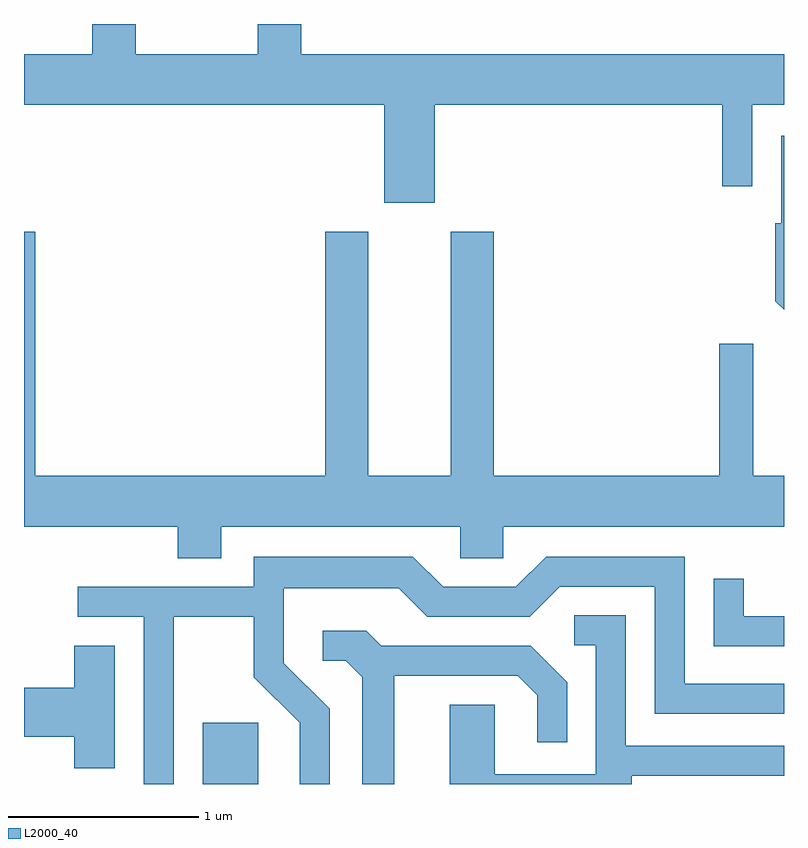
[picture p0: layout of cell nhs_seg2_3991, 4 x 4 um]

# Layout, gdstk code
import gdstk
lib = gdstk.Library(unit=1e-6, precision=1e-09)
def R(c, l, rs):  # rectangles x0, y0, x1, y1
    for r in rs: c.add(gdstk.rectangle(r[:2], r[2:], *l))
def P(c, l, *ps):  # polygons
    for p in ps: c.add(gdstk.Polygon(p, *l))
L2000_40 = (2000, 40)

nhs_seg2_3991 = lib.new_cell('nhs_seg2_3991')
R(nhs_seg2_3991, L2000_40, [(302.551,1095.802,302.844,1096.124)])
P(nhs_seg2_3991, L2000_40, [(303.774,1099.376),(305.286,1099.376),(305.286,1098.948),(305.444,1098.948),(305.444,1099.376),(305.611,1099.376),(305.611,1099.644),(303.069,1099.644),(303.069,1099.802),(302.841,1099.802),(302.841,1099.644),(302.199,1099.644),(302.199,1099.802),(301.971,1099.802),(301.971,1099.644),(301.611,1099.644),(301.611,1099.376),(303.506,1099.376),(303.506,1098.861),(303.774,1098.861)],
  [(305.611,1099.214),(305.596,1099.214),(305.596,1098.754),(305.566,1098.754),(305.566,1098.344),(305.611,1098.299)],
  [(302.649,1097.156),(303.906,1097.156),(303.906,1096.991),(304.134,1096.991),(304.134,1097.156),(305.611,1097.156),(305.611,1097.424),(305.449,1097.424),(305.449,1098.119),(305.271,1098.119),(305.271,1097.424),(304.084,1097.424),(304.084,1098.709),(303.856,1098.709),(303.856,1097.424),(303.424,1097.424),(303.424,1098.709),(303.196,1098.709),(303.196,1097.424),(301.669,1097.424),(301.669,1098.709),(301.611,1098.709),(301.611,1097.156),(302.421,1097.156),(302.421,1096.991),(302.649,1096.991)],
  [(302.399,1096.681),(302.821,1096.681),(302.821,1096.364),(303.061,1096.124),(303.061,1095.802),(303.219,1095.802),(303.219,1096.197),(302.979,1096.437),(302.979,1096.831),(303.584,1096.831),(303.734,1096.681),(304.272,1096.681),(304.432,1096.841),(304.931,1096.841),(304.931,1096.171),(305.611,1096.171),(305.611,1096.329),(305.089,1096.329),(305.089,1096.999),(304.359,1096.999),(304.199,1096.839),(303.817,1096.839),(303.657,1096.999),(302.821,1096.999),(302.821,1096.839),(301.893,1096.839),(301.893,1096.681),(302.241,1096.681),(302.241,1095.802),(302.399,1095.802)],
  [(305.611,1096.684),(305.399,1096.684),(305.399,1096.883),(305.241,1096.883),(305.241,1096.526),(305.611,1096.526)],
  [(304.809,1095.846),(305.611,1095.846),(305.611,1096.004),(304.779,1096.004),(304.779,1096.689),(304.508,1096.689),(304.508,1096.531),(304.621,1096.531),(304.621,1095.854),(304.089,1095.854),(304.089,1096.219),(303.851,1096.219),(303.851,1095.802),(304.809,1095.802)],
  [(303.559,1096.371),(304.209,1096.371),(304.311,1096.269),(304.311,1096.023),(304.469,1096.023),(304.469,1096.337),(304.277,1096.529),(303.492,1096.529),(303.412,1096.609),(303.183,1096.609),(303.183,1096.451),(303.304,1096.451),(303.391,1096.364),(303.391,1095.802),(303.559,1095.802)],
  [(302.089,1096.529),(301.876,1096.529),(301.876,1096.309),(301.611,1096.309),(301.611,1096.051),(301.876,1096.051),(301.876,1095.886),(302.089,1095.886)])

lib.write_gds('nhs_seg2_3991.gds')
